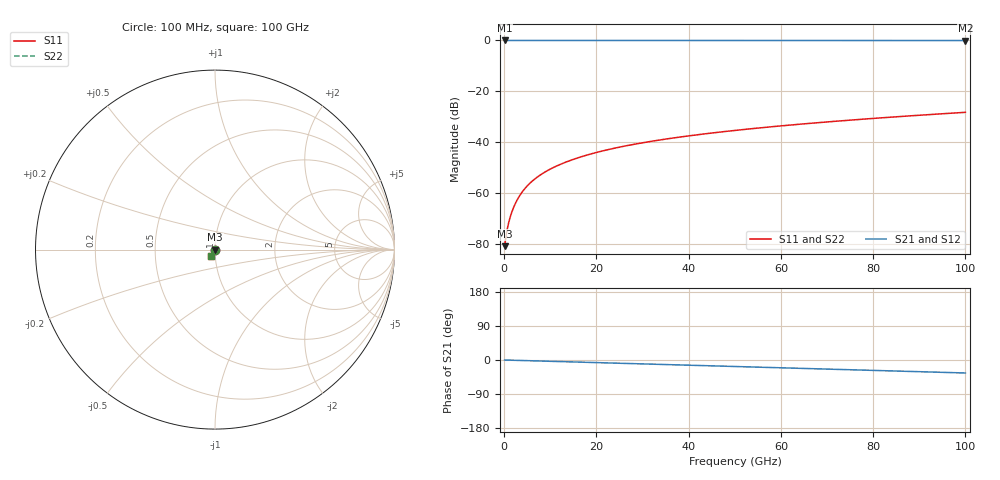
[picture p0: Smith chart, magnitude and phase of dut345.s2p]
! Touchstone file exported from HFSS 2026.1.0
!  File:  C:/ffzhzh/LocalFiles/Ansys_Project_Files/temp_train_TSV_345_1783509918_55944.aedt
!  Generated:  07:26:29 PM Jul  8, 2026
!  Design:  TSV
!  Project:  temp_train_TSV_345_1783509918_55944
! Variables:
!  h_bsmrdl = 2um
!  h_ox = 20um
!  h_rdl = 5um
!  h_sub = 67um
!  h_tmrdl = 5um
!  h_tsv = 67um
!  h_via = 3um
!  l_bsmrdl = 300um
!  l_sub = 423.48um
!  l_tmrdl = 200um
!  m_sub = 200um
!  pitch = 44.54um
!  r_tsv = 11.74um
!  s_tmrdl = 10um
!  w_bsmrdl = 18um
!  w_sub = 500um
!  w_tmrdl = 12um
!  x_tsv_center1 = 206um
!  x_tsv_center2 = 524um
!  x_tsv_center3 = 736um
!  x_tsv_center4 = 1054um
!  x_tsv_center5 = 1266um
!  x_tsv_center6 = 1584um
# GHz S MA R 50.000000
! Terminal data exported
! Port[1] = TSV1_1_T1
! Port[2] = TSV1_1_T2
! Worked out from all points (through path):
!   1000 points, 100 MHz to 100 GHz, reference 50 ohm
!   highest |S21| = 0.00 dB at 100 MHz (marker M1); lowest = 0.0 dB at 100 GHz (marker M2)
!   group delay of S21, straight-line fit = 951 fs
!   lowest |S11| = -81.0 dB at 100 MHz (marker M3), VSWR 1.00, Z = 50 + j0.00057 ohm
!   |S11| at or under -10 dB: start of sweep to end of sweep
!   |S22| runs from -81.0 to -28.3 dB; largest |S21 - S12| = 4e-15
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0.1  8.942e-05 3.7  0.9999 -0.0  0.9999 -0.0  8.942e-05 3.7
! Gamma 0 0 0 0
! Port Impedance 50 0 50 0
0.4  0.0001372 -2.6  0.9999 -0.1  0.9999 -0.1  0.0001372 -2.6
0.9  0.0002411 -27.0  0.9998 -0.3  0.9998 -0.3  0.0002411 -27.0
1.2  0.0003081 -37.0  0.9998 -0.4  0.9998 -0.4  0.0003081 -37.0
1.6  0.0004031 -46.1  0.9997 -0.6  0.9997 -0.6  0.0004031 -46.1
2.1  0.0005302 -53.3  0.9997 -0.7  0.9997 -0.7  0.0005302 -53.3
2.7  0.0006927 -59.0  0.9996 -0.9  0.9996 -0.9  0.0006927 -59.0
3.3  0.0008632 -63.0  0.9996 -1.1  0.9996 -1.1  0.0008632 -63.0
4.1  0.001099 -66.9  0.9995 -1.4  0.9995 -1.4  0.001099 -66.9
4.9  0.00134 -69.9  0.9995 -1.7  0.9995 -1.7  0.00134 -69.9
5.9  0.001647 -72.7  0.9995 -2.0  0.9995 -2.0  0.001646 -72.7
7  0.001988 -75.1  0.9994 -2.4  0.9994 -2.4  0.001988 -75.1
9.7  0.002846 -79.0  0.9993 -3.3  0.9993 -3.3  0.002846 -79.0
12.9  0.003876 -82.1  0.9992 -4.4  0.9992 -4.4  0.003876 -82.1
16.8  0.005168 -85.2  0.999 -5.8  0.999 -5.8  0.005168 -85.2
24.1  0.007645 -89.8  0.9988 -8.2  0.9988 -8.2  0.007644 -89.8
33.4  0.01088 -94.6  0.9986 -11.4  0.9986 -11.4  0.01088 -94.6
41.1  0.01364 -98.0  0.9984 -14.0  0.9984 -14.0  0.01364 -98.1
50.1  0.01698 -101.7  0.9982 -17.1  0.9982 -17.1  0.01698 -101.8
66.7  0.02354 -108.1  0.9978 -22.8  0.9978 -22.8  0.02354 -108.2
83.4  0.03074 -114.6  0.9973 -28.5  0.9973 -28.5  0.03073 -114.6
100  0.03851 -121.3  0.9967 -34.3  0.9967 -34.3  0.03851 -121.4
